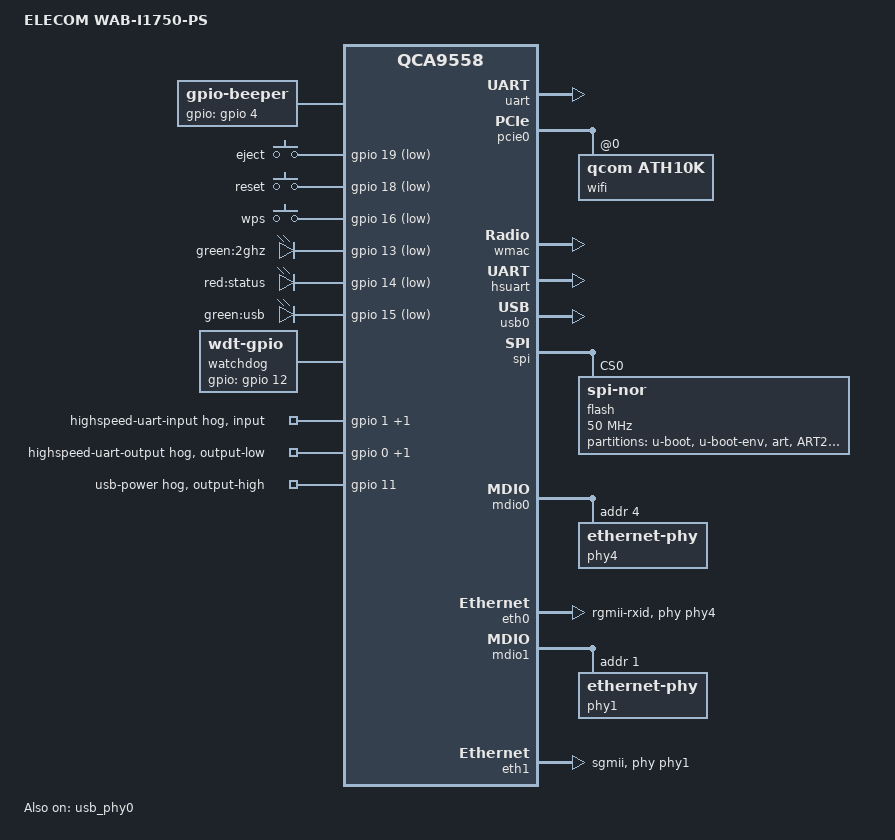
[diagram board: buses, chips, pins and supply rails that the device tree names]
// SPDX-License-Identifier: GPL-2.0-or-later

#include "qca955x.dtsi"

#include <dt-bindings/gpio/gpio.h>
#include <dt-bindings/input/input.h>

/delete-node/ &wdt;

/ {
	model = "ELECOM WAB-I1750-PS";
	compatible = "elecom,wab-i1750-ps", "qca,qca9558";

	aliases {
		serial1 = &hsuart;
		label-mac-device = &eth0;

		led-boot = &led_status_red;
		led-failsafe = &led_status_red;
		led-running = &led_status_red;
		led-upgrade = &led_status_red;
	};

	beeper {
		compatible = "gpio-beeper";
		gpios = <&gpio 4 GPIO_ACTIVE_HIGH>;
	};

	keys {
		compatible = "gpio-keys";

		eject {
			label = "eject";
			gpios = <&gpio 19 GPIO_ACTIVE_LOW>;
			linux,code = <KEY_EJECTCD>;
		};

		reset {
			label = "reset";
			gpios = <&gpio 18 GPIO_ACTIVE_LOW>;
			linux,code = <KEY_RESTART>;
		};

		wps {
			label = "wps";
			gpios = <&gpio 16 GPIO_ACTIVE_LOW>;
			linux,code = <KEY_WPS_BUTTON>;
		};
	};

	leds {
		compatible = "gpio-leds";

		2ghz {
			label = "green:2ghz";
			gpios = <&gpio 13 GPIO_ACTIVE_LOW>;
		};

		led_status_red: status {
			label = "red:status";
			gpios = <&gpio 14 GPIO_ACTIVE_LOW>;
		};

		usb {
			label = "green:usb";
			gpios = <&gpio 15 GPIO_ACTIVE_LOW>;
		};
	};

	watchdog {
		compatible = "linux,wdt-gpio";
		gpios = <&gpio 12 GPIO_ACTIVE_HIGH>;
		hw_algo = "toggle";
		hw_margin_ms = <300>;
		always-running;
	};
};

&uart {
	status = "okay";
};

&usb_phy0 {
	status = "okay";
};

&gpio {
	hs_uart_input {
		gpio-hog;
		gpios = <1 GPIO_ACTIVE_HIGH>,
			<3 GPIO_ACTIVE_HIGH>;
		input;
		line-name = "highspeed-uart-input";
	};

	hs_uart_output {
		gpio-hog;
		gpios = <0 GPIO_ACTIVE_HIGH>,
			<2 GPIO_ACTIVE_HIGH>;
		output-low;
		line-name = "highspeed-uart-output";
	};

	usb_power {
		gpio-hog;
		gpios = <11 GPIO_ACTIVE_HIGH>;
		output-high;
		line-name = "usb-power";
	};
};

&pinmux {
	hs_uart_function: hs_uart_function {
		pinctrl-single,bits = <0x0 0x00130012 0x00ff00ff>;
	};

	hs_uart_pins: hs_uart_pins {
		pinctrl-single,bits = <0x3c 0x03010000 0xffff0000>;
	};
};

&pcie0 {
	status = "okay";

	wifi@0,0 {
		compatible = "qcom,ath10k";

		reg = <0x0000 0 0 0 0>;
		ieee80211-freq-limit = <5170000 5710000>;
	};
};

&wmac {
	status = "okay";

	ieee80211-freq-limit = <2400000 2483000>;
	qca,no-eeprom;
};

&hsuart {
	status = "okay";

	pinctrl-0 = <&hs_uart_function &hs_uart_pins &jtag_disable_pins>;
	pinctrl-names = "default";
};

&usb0 {
	status = "okay";
};

&spi {
	status = "okay";

	num-cs = <1>;

	flash@0 {
		compatible = "jedec,spi-nor";
		reg = <0>;
		spi-max-frequency = <50000000>;
		m25p,fast-read;

		partitions {
			compatible = "fixed-partitions";
			#address-cells = <1>;
			#size-cells = <1>;

			partition@0 {
				label = "u-boot";
				reg = <0x0000000 0x0040000>;
				read-only;
			};

			partition@40000 {
				label = "u-boot-env";
				reg = <0x0040000 0x0010000>;
				read-only;
			};

			art: partition@50000 {
				label = "art";
				reg = <0x0050000 0x0010000>;
				read-only;
			};

			partition@60000 {
				label = "ART2";
				reg = <0x0060000 0x0010000>;
				read-only;
			};

			partition@70000 {
				compatible = "denx,uimage";
				label = "firmware";
				reg = <0x0070000 0x0e00000>;
			};

			partition@e70000 {
				label = "manufacture";
				reg = <0x0e70000 0x0100000>;
				read-only;
			};

			partition@f70000 {
				label = "backup";
				reg = <0x0f70000 0x0010000>;
				read-only;
			};

			partition@f80000 {
				label = "storage";
				reg = <0x0f80000 0x0080000>;
				read-only;
			};
		};
	};
};

&mdio0 {
	status = "okay";

	phy4: ethernet-phy@4 {
		reg = <4>;
	};
};

&eth0 {
	status = "okay";

	phy-mode = "rgmii-rxid";
	phy-handle = <&phy4>;

	pll-data = <0xae000000 0x80000101 0x80001313>;

	gmac-config {
		device = <&gmac>;

		rgmii-enabled = <1>;
		ge0-sgmii = <0>;
		txen-delay = <0>;
		txd-delay = <0>;
		rxdv-delay = <3>;
		rxd-delay = <3>;
	};
};

&mdio1 {
	status = "okay";

	phy1: ethernet-phy@1 {
		reg = <1>;
	};
};

&eth1 {
	status = "okay";

	phy-mode = "sgmii";
	phy-handle = <&phy1>;

	pll-data = <0x03000000 0x00000101 0x00001313>;
};
